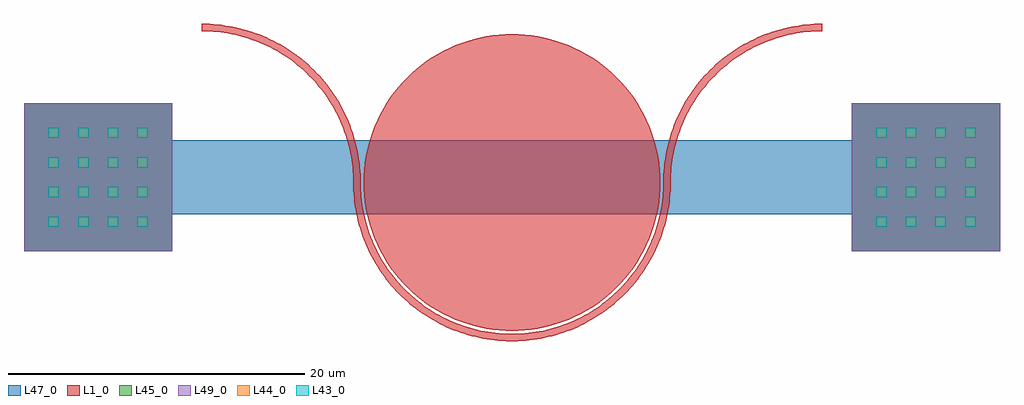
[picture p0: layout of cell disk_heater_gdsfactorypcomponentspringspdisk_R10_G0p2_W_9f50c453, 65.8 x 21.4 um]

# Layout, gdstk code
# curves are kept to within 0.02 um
import gdstk
lib = gdstk.Library(unit=1e-6, precision=1e-09)
def R(c, l, rs):  # rectangles x0, y0, x1, y1
    for r in rs: c.add(gdstk.rectangle(r[:2], r[2:], *l))
def P(c, l, *ps):  # polygons
    for p in ps: c.add(gdstk.Polygon(p, *l))
L1_0 = (1, 0)
L43_0 = (43, 0)
L44_0 = (44, 0)
L45_0 = (45, 0)
L47_0 = (47, 0)
L49_0 = (49, 0)

disk_gdsfactorypcomponen = lib.new_cell('disk_gdsfactorypcomponentspringspdisk_R10_G0p2_WAD180_P1_CSstrip')
P(disk_gdsfactorypcomponen, L1_0, [(-10.45,-10),(-11.322,-9.962),(-12.614,-9.763),(-13.457,-9.537),(-14.277,-9.239),(-15.45,-8.66),(-16.186,-8.192),(-16.878,-7.66),(-17.521,-7.071),(-18.11,-6.428),(-18.642,-5.736),(-19.11,-5),(-19.689,-3.827),(-19.987,-3.007),(-20.213,-2.164),(-20.412,-0.872),(-20.45,0),(-20.412,0.872),(-20.213,2.164),(-19.987,3.007),(-19.689,3.827),(-19.11,5),(-18.642,5.736),(-18.11,6.428),(-17.521,7.071),(-16.878,7.66),(-16.186,8.192),(-15.45,8.66),(-14.277,9.239),(-13.457,9.537),(-12.614,9.763),(-11.322,9.962),(-10.45,10),(-9.578,9.962),(-8.286,9.763),(-7.443,9.537),(-6.623,9.239),(-5.45,8.66),(-4.714,8.192),(-4.022,7.66),(-3.379,7.071),(-2.79,6.428),(-2.258,5.736),(-1.79,5),(-1.211,3.827),(-0.913,3.007),(-0.687,2.164),(-0.488,0.872),(-0.45,0),(-0.488,-0.872),(-0.687,-2.164),(-0.913,-3.007),(-1.211,-3.827),(-1.79,-5),(-2.258,-5.736),(-2.79,-6.428),(-3.379,-7.071),(-4.022,-7.66),(-4.714,-8.192),(-5.45,-8.66),(-6.623,-9.239),(-7.443,-9.537),(-8.286,-9.763),(-9.578,-9.962)],
  [(-10.58,-10.699),(-11.62,-10.636),(-12.649,-10.472),(-13.657,-10.208),(-14.635,-9.848),(-15.573,-9.394),(-16.462,-8.851),(-17.295,-8.225),(-18.062,-7.52),(-18.757,-6.744),(-19.374,-5.904),(-19.906,-5.008),(-20.444,-3.822),(-20.768,-2.832),(-20.995,-1.815),(-21.121,-0.781),(-21.162,0.5),(-21.227,1.249),(-21.346,1.99),(-21.52,2.72),(-21.833,3.671),(-22.129,4.361),(-22.601,5.244),(-23.157,6.076),(-23.792,6.85),(-24.5,7.558),(-25.274,8.193),(-26.322,8.875),(-26.989,9.221),(-27.679,9.517),(-28.872,9.894),(-30.101,10.123),(-31.35,10.2),(-31.35,10.7),(-30.301,10.648),(-29.263,10.494),(-28.244,10.239),(-27.255,9.886),(-26.306,9.437),(-25.405,8.897),(-24.562,8.271),(-23.784,7.566),(-23.079,6.788),(-22.453,5.945),(-21.792,4.811),(-21.367,3.851),(-21.038,2.854),(-20.808,1.829),(-20.679,0.787),(-20.638,-0.497),(-20.574,-1.239),(-20.457,-1.975),(-20.286,-2.7),(-20.063,-3.411),(-19.686,-4.329),(-19.221,-5.207),(-18.673,-6.036),(-17.879,-6.99),(-17.164,-7.679),(-16.181,-8.438),(-15.114,-9.071),(-13.977,-9.571),(-12.789,-9.928),(-11.812,-10.109),(-10.574,-10.199),(-9.334,-10.139),(-8.111,-9.928),(-6.923,-9.571),(-6.008,-9.182),(-4.926,-8.575),(-3.925,-7.84),(-3.021,-6.99),(-2.227,-6.036),(-1.679,-5.207),(-1.214,-4.329),(-0.837,-3.411),(-0.614,-2.7),(-0.443,-1.975),(-0.326,-1.239),(-0.262,-0.497),(-0.221,0.787),(-0.092,1.829),(0.138,2.854),(0.467,3.851),(0.892,4.811),(1.553,5.945),(2.179,6.788),(2.884,7.566),(3.662,8.271),(4.505,8.897),(5.406,9.437),(6.355,9.886),(7.344,10.239),(8.363,10.494),(9.401,10.648),(10.45,10.7),(10.45,10.2),(9.201,10.123),(7.972,9.894),(6.779,9.517),(6.089,9.221),(5.422,8.875),(4.374,8.193),(3.6,7.558),(2.892,6.85),(2.257,6.076),(1.701,5.244),(1.229,4.361),(0.933,3.671),(0.62,2.72),(0.446,1.99),(0.327,1.249),(0.262,0.5),(0.221,-0.781),(0.095,-1.815),(-0.132,-2.832),(-0.456,-3.822),(-0.994,-5.008),(-1.526,-5.904),(-2.143,-6.744),(-2.838,-7.52),(-3.605,-8.225),(-4.655,-8.995),(-5.557,-9.516),(-6.506,-9.947),(-7.492,-10.283),(-8.506,-10.522),(-9.539,-10.661)])

rectangle_gdsfactorypcom = lib.new_cell('rectangle_gdsfactorypcomponentspshapesprectangle_S45p80_ae271b9b')
R(rectangle_gdsfactorypcom, L47_0, [(0,0,45.8,5)])

compass_gdsfactorypcompo = lib.new_cell('compass_gdsfactorypcomponentspshapespcompass_S10_10_LHE_2bb49300')
R(compass_gdsfactorypcompo, L47_0, [(-5,-5,5,5)])

c_compass_gdsfactorypcompo = lib.new_cell('compass_gdsfactorypcomponentspshapespcompass_S10_10_LM2_ef1a02c5')
R(c_compass_gdsfactorypcompo, L45_0, [(-5,-5,5,5)])

c_compass_gdsfactorypcompo_ = lib.new_cell('compass_gdsfactorypcomponentspshapespcompass_S10_10_LM3_2fa2b33f')
R(c_compass_gdsfactorypcompo_, L49_0, [(-5,-5,5,5)])

via_gdsfactorypcomponent = lib.new_cell('via_gdsfactorypcomponentspviaspvia_S0p7_0p7_E1_LVIA1_BL_0068d91e')
R(via_gdsfactorypcomponent, L44_0, [(-0.35,-0.35,0.35,0.35)])

c_via_gdsfactorypcomponent = lib.new_cell('via_gdsfactorypcomponentspviaspvia_S0p7_0p7_E1_LVIA2_BL_c51b5ebb')
R(c_via_gdsfactorypcomponent, L43_0, [(-0.35,-0.35,0.35,0.35)])

via_stack_gdsfactorypcom = lib.new_cell('via_stack_gdsfactorypcomponentspviaspvia_stack_S10_10_L_b518b436')
via_stack_gdsfactorypcom.add(gdstk.Reference(compass_gdsfactorypcompo, (0,0)))
via_stack_gdsfactorypcom.add(gdstk.Reference(c_compass_gdsfactorypcompo, (0,0)))
via_stack_gdsfactorypcom.add(gdstk.Reference(c_compass_gdsfactorypcompo_, (0,0)))
r = gdstk.Reference(via_gdsfactorypcomponent, (-3,-3)); r.repetition = gdstk.Repetition(4, 4, v1=(2,0), v2=(0,2)); via_stack_gdsfactorypcom.add(r)
r = gdstk.Reference(c_via_gdsfactorypcomponent, (-3,-3)); r.repetition = gdstk.Repetition(4, 4, v1=(2,0), v2=(0,2)); via_stack_gdsfactorypcom.add(r)

disk_heater_gdsfactorypc = lib.new_cell('disk_heater_gdsfactorypcomponentspringspdisk_R10_G0p2_W_9f50c453')
disk_heater_gdsfactorypc.add(gdstk.Reference(disk_gdsfactorypcomponen, (0,0)))
disk_heater_gdsfactorypc.add(gdstk.Reference(rectangle_gdsfactorypcom, (-33.35,-2.149)))
disk_heater_gdsfactorypc.add(gdstk.Reference(via_stack_gdsfactorypcom, (-38.35,0.351)))
disk_heater_gdsfactorypc.add(gdstk.Reference(via_stack_gdsfactorypcom, (17.45,0.351)))

lib.write_gds('disk_heater_gdsfactorypcomponentspringspdisk_R10_G0p2_W_9f50c453.gds')
